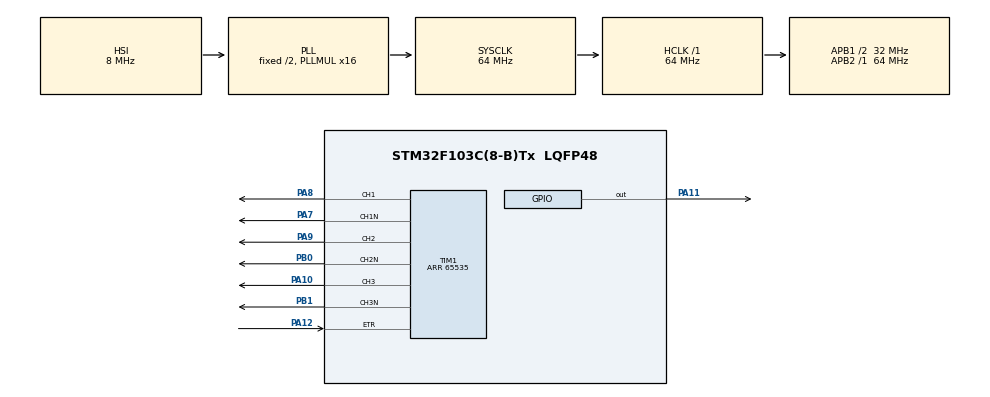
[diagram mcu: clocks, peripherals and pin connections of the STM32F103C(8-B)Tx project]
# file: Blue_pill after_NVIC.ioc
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Mcu.Family=STM32F1
Mcu.Name=STM32F103C(8-B)Tx
Mcu.Package=LQFP48
NVIC.PriorityGroup=NVIC_PRIORITYGROUP_4
NVIC.TIM1_UP_IRQn=true\:0\:0\:false\:false\:true\:true\:true\:true
PA10.Signal=S_TIM1_CH3
PA11.Signal=GPIO_Output
PA12.Signal=S_TIM1_ETR
PA7.Mode=PWM Generation1 CH1 CH1N
PA7.Signal=TIM1_CH1N
PA8.Signal=S_TIM1_CH1
PA9.Signal=S_TIM1_CH2
PB0.Mode=PWM Generation2 CH2 CH2N
PB0.Signal=TIM1_CH2N
PB1.Mode=PWM Generation3 CH3 CH3N
PB1.Signal=TIM1_CH3N
ProjectManager.HeapSize=0x200
ProjectManager.StackSize=0x400
ProjectManager.TargetToolchain=STM32CubeIDE
RCC.AHBFreq_Value=64000000
RCC.APB1CLKDivider=RCC_HCLK_DIV2
RCC.APB1Freq_Value=32000000
RCC.APB1TimFreq_Value=64000000
RCC.APB2Freq_Value=64000000
RCC.APB2TimFreq_Value=64000000
RCC.HCLKFreq_Value=64000000
RCC.HSE_VALUE=16000000
RCC.PLLMUL=RCC_PLL_MUL16
RCC.SYSCLKFreq_VALUE=64000000
RCC.SYSCLKSource=RCC_SYSCLKSOURCE_PLLCLK
RCC.USBFreq_Value=64000000
SH.S_TIM1_CH1.0=TIM1_CH1,PWM Generation1 CH1 CH1N
SH.S_TIM1_CH2.0=TIM1_CH2,PWM Generation2 CH2 CH2N
SH.S_TIM1_CH3.0=TIM1_CH3,PWM Generation3 CH3 CH3N
SH.S_TIM1_ETR.0=TIM1_ETR,ClockSourceETR_Mode2
TIM1.AutoReloadPreload=TIM_AUTORELOAD_PRELOAD_DISABLE
TIM1.AutomaticOutput=TIM_AUTOMATICOUTPUT_DISABLE
TIM1.BreakState=TIM_BREAK_DISABLE
TIM1.Channel-PWM\ Generation1\ CH1\ CH1N=TIM_CHANNEL_1
TIM1.Channel-PWM\ Generation2\ CH2\ CH2N=TIM_CHANNEL_2
TIM1.Channel-PWM\ Generation3\ CH3\ CH3N=TIM_CHANNEL_3
TIM1.DeadTime=255
TIM1.OCMode_PWM-PWM\ Generation1\ CH1\ CH1N=TIM_OCMODE_PWM1
TIM1.OCNIdleState_1=TIM_OCNIDLESTATE_RESET
TIM1.OCNIdleState_2=TIM_OCNIDLESTATE_RESET
TIM1.OCNIdleState_3=TIM_OCNIDLESTATE_RESET
TIM1.OCNPolarity_1=TIM_OCNPOLARITY_HIGH
TIM1.OCNPolarity_2=TIM_OCNPOLARITY_HIGH
TIM1.OCNPolarity_3=TIM_OCNPOLARITY_HIGH
TIM1.Period=65535
TIM1.TIM_MasterSlaveMode=TIM_MASTERSLAVEMODE_DISABLE
board=custom

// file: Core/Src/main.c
/* USER CODE BEGIN Header */
/**
  ******************************************************************************
  * @file           : main.c
  * @brief          : Main program body
  ******************************************************************************
  * @attention
  *
  * Copyright (c) 2023 STMicroelectronics.
  * All rights reserved.
  *
  * This software is licensed under terms that can be found in the LICENSE file
  * in the root directory of this software component.
  * If no LICENSE file comes with this software, it is provided AS-IS.
  *
  ******************************************************************************
  */
/* USER CODE END Header */
#include "main.h"

/* USER CODE BEGIN Includes */
#include <stdbool.h>

/* USER CODE END Includes */

TIM_HandleTypeDef htim1;

/* USER CODE BEGIN PV */
uint16_t samples;
uint16_t * lookUp;
uint16_t num1 = 0, num2, num3;
uint16_t count = 0;
bool directionReversed = false;
uint8_t sw, frequency, amplitude;

/* USER CODE END PV */

void SystemClock_Config(void);
static void MX_GPIO_Init(void);
static void MX_TIM1_Init(void);
/* USER CODE BEGIN PFP */
void startSPWM(float switchingFreq, float sinFreq, float amp, bool reversed);
void invCommand(uint8_t sw1, uint8_t amplitude1, uint8_t frequency1);
void stopSPWM();
/* USER CODE END PFP */

int main(void)
{

  /* MCU Configuration--------------------------------------------------------*/

  /* Reset of all peripherals, Initializes the Flash interface and the Systick. */
  HAL_Init();

  /* Configure the system clock */
  SystemClock_Config();

  /* Initialize all configured peripherals */
  MX_GPIO_Init();
  MX_TIM1_Init();
  /* USER CODE BEGIN 2 */
  invCommand(1, 9, 2);
  /* USER CODE END 2 */

  /* Infinite loop */
  /* USER CODE BEGIN WHILE */
  while (1)
  {

//	  invCommand(1, 9, 5);
//	  HAL_Delay(10000);
//	  invCommand(0, 9, 5);
//	  HAL_Delay(5000);

    /* USER CODE END WHILE */

    /* USER CODE BEGIN 3 */

	 /* for (float f = 10; f < 300; f+=10) {
		  startSPWM(f*100, f, (f / 450.0) + 0.25);
		  HAL_Delay(200);
	  }
	  for (float f = 300; f > 10; f-=10) {
	  		  startSPWM(f * 100, f, (f / 450.0) + 0.25);
	  		  HAL_Delay(200);
	  	  }*/

  }
  /* USER CODE END 3 */
}

void SystemClock_Config(void)
{
  RCC_OscInitTypeDef RCC_OscInitStruct = {0};
  RCC_ClkInitTypeDef RCC_ClkInitStruct = {0};

  /** Initializes the RCC Oscillators according to the specified parameters
  * in the RCC_OscInitTypeDef structure.
  */
  RCC_OscInitStruct.OscillatorType = RCC_OSCILLATORTYPE_HSI;
  RCC_OscInitStruct.HSIState = RCC_HSI_ON;
  RCC_OscInitStruct.HSICalibrationValue = RCC_HSICALIBRATION_DEFAULT;
  RCC_OscInitStruct.PLL.PLLState = RCC_PLL_ON;
  RCC_OscInitStruct.PLL.PLLSource = RCC_PLLSOURCE_HSI_DIV2;
  RCC_OscInitStruct.PLL.PLLMUL = RCC_PLL_MUL16;
  if (HAL_RCC_OscConfig(&RCC_OscInitStruct) != HAL_OK)
  {
    Error_Handler();
  }

  /** Initializes the CPU, AHB and APB buses clocks
  */
  RCC_ClkInitStruct.ClockType = RCC_CLOCKTYPE_HCLK|RCC_CLOCKTYPE_SYSCLK
                              |RCC_CLOCKTYPE_PCLK1|RCC_CLOCKTYPE_PCLK2;
  RCC_ClkInitStruct.SYSCLKSource = RCC_SYSCLKSOURCE_PLLCLK;
  RCC_ClkInitStruct.AHBCLKDivider = RCC_SYSCLK_DIV1;
  RCC_ClkInitStruct.APB1CLKDivider = RCC_HCLK_DIV2;
  RCC_ClkInitStruct.APB2CLKDivider = RCC_HCLK_DIV1;

  if (HAL_RCC_ClockConfig(&RCC_ClkInitStruct, FLASH_LATENCY_2) != HAL_OK)
  {
    Error_Handler();
  }
}

static void MX_TIM1_Init(void)
{

  TIM_ClockConfigTypeDef sClockSourceConfig = {0};
  TIM_MasterConfigTypeDef sMasterConfig = {0};
  TIM_OC_InitTypeDef sConfigOC = {0};
  TIM_BreakDeadTimeConfigTypeDef sBreakDeadTimeConfig = {0};

  htim1.Instance = TIM1;
  htim1.Init.Prescaler = 0;
  htim1.Init.CounterMode = TIM_COUNTERMODE_UP;
  htim1.Init.Period = 65535;
  htim1.Init.ClockDivision = TIM_CLOCKDIVISION_DIV1;
  htim1.Init.RepetitionCounter = 0;
  htim1.Init.AutoReloadPreload = TIM_AUTORELOAD_PRELOAD_DISABLE;
  if (HAL_TIM_Base_Init(&htim1) != HAL_OK)
  {
    Error_Handler();
  }
  sClockSourceConfig.ClockSource = TIM_CLOCKSOURCE_ETRMODE2;
  sClockSourceConfig.ClockPolarity = TIM_CLOCKPOLARITY_NONINVERTED;
  sClockSourceConfig.ClockPrescaler = TIM_CLOCKPRESCALER_DIV1;
  sClockSourceConfig.ClockFilter = 0;
  if (HAL_TIM_ConfigClockSource(&htim1, &sClockSourceConfig) != HAL_OK)
  {
    Error_Handler();
  }
  if (HAL_TIM_PWM_Init(&htim1) != HAL_OK)
  {
    Error_Handler();
  }
  sMasterConfig.MasterOutputTrigger = TIM_TRGO_RESET;
  sMasterConfig.MasterSlaveMode = TIM_MASTERSLAVEMODE_DISABLE;
  if (HAL_TIMEx_MasterConfigSynchronization(&htim1, &sMasterConfig) != HAL_OK)
  {
    Error_Handler();
  }
  sConfigOC.OCMode = TIM_OCMODE_PWM1;
  sConfigOC.Pulse = 0;
  sConfigOC.OCPolarity = TIM_OCPOLARITY_HIGH;
  sConfigOC.OCNPolarity = TIM_OCNPOLARITY_HIGH;
  sConfigOC.OCFastMode = TIM_OCFAST_DISABLE;
  sConfigOC.OCIdleState = TIM_OCIDLESTATE_RESET;
  sConfigOC.OCNIdleState = TIM_OCNIDLESTATE_RESET;
  if (HAL_TIM_PWM_ConfigChannel(&htim1, &sConfigOC, TIM_CHANNEL_1) != HAL_OK)
  {
    Error_Handler();
  }
  if (HAL_TIM_PWM_ConfigChannel(&htim1, &sConfigOC, TIM_CHANNEL_2) != HAL_OK)
  {
    Error_Handler();
  }
  if (HAL_TIM_PWM_ConfigChannel(&htim1, &sConfigOC, TIM_CHANNEL_3) != HAL_OK)
  {
    Error_Handler();
  }
  sBreakDeadTimeConfig.OffStateRunMode = TIM_OSSR_DISABLE;
  sBreakDeadTimeConfig.OffStateIDLEMode = TIM_OSSI_DISABLE;
  sBreakDeadTimeConfig.LockLevel = TIM_LOCKLEVEL_OFF;
  sBreakDeadTimeConfig.DeadTime = 255;
  sBreakDeadTimeConfig.BreakState = TIM_BREAK_DISABLE;
  sBreakDeadTimeConfig.BreakPolarity = TIM_BREAKPOLARITY_HIGH;
  sBreakDeadTimeConfig.AutomaticOutput = TIM_AUTOMATICOUTPUT_DISABLE;
  if (HAL_TIMEx_ConfigBreakDeadTime(&htim1, &sBreakDeadTimeConfig) != HAL_OK)
  {
    Error_Handler();
  }
  /* USER CODE BEGIN TIM1_Init 2 */
  //TIM1->ARR = 14400;
  /* USER CODE END TIM1_Init 2 */
  HAL_TIM_MspPostInit(&htim1);

}

static void MX_GPIO_Init(void)
{
  GPIO_InitTypeDef GPIO_InitStruct = {0};

  /* GPIO Ports Clock Enable */
  __HAL_RCC_GPIOA_CLK_ENABLE();
  __HAL_RCC_GPIOB_CLK_ENABLE();

  /*Configure GPIO pin Output Level */
  HAL_GPIO_WritePin(GPIOA, GPIO_PIN_11, GPIO_PIN_RESET);

  /*Configure GPIO pin : PA11 */
  GPIO_InitStruct.Pin = GPIO_PIN_11;
  GPIO_InitStruct.Mode = GPIO_MODE_OUTPUT_PP;
  GPIO_InitStruct.Pull = GPIO_NOPULL;
  GPIO_InitStruct.Speed = GPIO_SPEED_FREQ_LOW;
  HAL_GPIO_Init(GPIOA, &GPIO_InitStruct);

}

/* USER CODE BEGIN 4 */
void invCommand(uint8_t sw1, uint8_t amplitude1, uint8_t frequency1) {

	sw = sw1;
	amplitude = amplitude1;
	frequency = (frequency1 * 5) + 5;

}
void startSPWM(float switchingFreq, float sinFreq, float amp, bool reversed) { //amp 0 to 1 and sinfrq > 0.01 to 10000 and switchingfreq from 100+
	HAL_TIM_PWM_Stop(&htim1, TIM_CHANNEL_1);//max switching freq to sinfreq ratio is 25000
	HAL_TIMEx_PWMN_Stop(&htim1, TIM_CHANNEL_1);
	HAL_TIM_PWM_Stop(&htim1, TIM_CHANNEL_2);
	HAL_TIMEx_PWMN_Stop(&htim1, TIM_CHANNEL_2);
	HAL_TIM_PWM_Stop(&htim1, TIM_CHANNEL_3);
	HAL_TIMEx_PWMN_Stop(&htim1, TIM_CHANNEL_3);
	__HAL_TIM_DISABLE_IT(&htim1, TIM_IT_UPDATE);
	directionReversed = reversed;

	if (sinFreq < 0.1) {
		TIM1-> PSC = (0.4 / sinFreq) - 1.0;
		sinFreq = 0.4;
		switchingFreq *= TIM1->PSC;

	}
	else {
		TIM1-> PSC = 0;
	}
	samples = switchingFreq/sinFreq;
	while (samples > 25000) {
		switchingFreq-=1;
		samples = switchingFreq/sinFreq;
	}
	TIM1->ARR = HAL_RCC_GetPCLK2Freq() / (samples * sinFreq);
	samples /= 3;
	amp *= 1;
	count = 0;
	num1 = 0;
	free(lookUp);
	lookUp = (uint16_t *)malloc(samples * sizeof(samples));
	for (uint16_t i = 0; i < samples; i++) {
		lookUp[i] = (sin(2 * 3.14 * ((double)i/(double)samples)) * (TIM1->ARR / 2.05)) * amp  + (TIM1->ARR / 2);
	}
	  __HAL_TIM_ENABLE_IT(&htim1, TIM_IT_UPDATE );
	  HAL_TIM_PWM_Start(&htim1, TIM_CHANNEL_1);
	  HAL_TIMEx_PWMN_Start(&htim1, TIM_CHANNEL_1);
	  HAL_TIM_PWM_Start(&htim1, TIM_CHANNEL_2);
	  HAL_TIMEx_PWMN_Start(&htim1, TIM_CHANNEL_2);
	  HAL_TIM_PWM_Start(&htim1, TIM_CHANNEL_3);
	  HAL_TIMEx_PWMN_Start(&htim1, TIM_CHANNEL_3);
}
void stopSPWM() {
	HAL_TIM_PWM_Stop(&htim1, TIM_CHANNEL_1);
	HAL_TIMEx_PWMN_Stop(&htim1, TIM_CHANNEL_1);
	HAL_TIM_PWM_Stop(&htim1, TIM_CHANNEL_2);
	HAL_TIMEx_PWMN_Stop(&htim1, TIM_CHANNEL_2);
	HAL_TIM_PWM_Stop(&htim1, TIM_CHANNEL_3);
	HAL_TIMEx_PWMN_Stop(&htim1, TIM_CHANNEL_3);
	__HAL_TIM_DISABLE_IT(&htim1, TIM_IT_UPDATE);
}
/* USER CODE END 4 */

void Error_Handler(void)
{
  __disable_irq();
  while (1)
  {
  }
}
